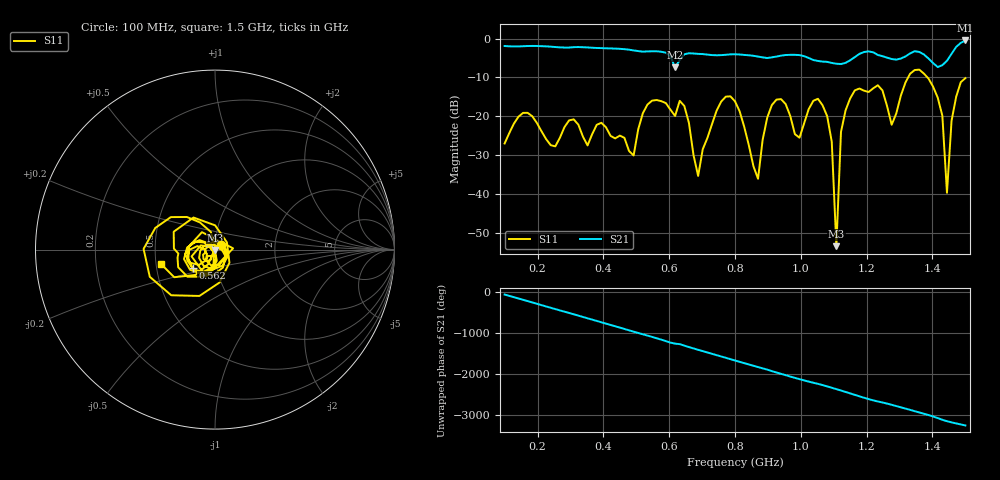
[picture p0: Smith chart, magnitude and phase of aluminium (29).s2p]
! NanoVNA-App
! Date: 2025-09-25 14:55:30
! Start: 100MHz Stop: 1,5GHz Points: 101
! S-Parameter data: F S11 S21 S12 S22
# Hz S RI R 50
!  Frequency  S11_Real  S11_Imag  S21_Real  S21_Imag  S12_Real  S12_Imag  S22_Real  S22_Imag
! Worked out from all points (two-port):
!   101 points, 100 MHz to 1.5 GHz, reference 50 ohm
!   highest |S21| = -0.49 dB at 1.5 GHz (marker M1); lowest = -7.4 dB at 618 MHz (marker M2)
!   |S21| within 3 dB of the highest: start of sweep to 581.1 MHz; 1.461 GHz to end of sweep (the widest 2 of 4)
!   lowest |S11| = -53.4 dB at 1.108 GHz (marker M3), VSWR 1.00, Z = 50 - j0.212 ohm
!   |S11| at or under -10 dB: start of sweep to 1.326 GHz; 1.385 GHz to end of sweep
!   S12 and S22 are empty: the file has one direction only
!   S11 on the Smith chart (normalised r, x): 100 MHz: 1.07, +0.06; 562 MHz: 0.76, -0.16; 1.5 GHz: 0.53, -0.10
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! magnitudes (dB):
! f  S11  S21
! 100 MHz  -27.0  -1.9
! 338 MHz  -25.2  -2.2
! 492 MHz  -30.1  -3.1
! 562 MHz  -15.8  -3.3
! 576 MHz  -16.1  -3.4
! 618 MHz  -19.9  -7.4
! 688 MHz  -35.4  -3.9
! 800 MHz  -16.2  -4.0
! 870 MHz  -36.1  -4.6
! 912 MHz  -17.1  -4.8
! 996 MHz  -25.5  -4.3
! 1.038 GHz  -16.0  -5.5
! 1.094 GHz  -26.6  -6.3
! 1.108 GHz  -53.4  -6.5
! 1.122 GHz  -24.0  -6.6
! 1.15 GHz  -15.4  -5.6
! 1.276 GHz  -22.2  -5.3
! 1.388 GHz  -10.3  -5.1
! 1.43 GHz  -19.9  -6.8
! 1.444 GHz  -39.7  -5.7
! 1.458 GHz  -21.1  -3.9
! 1.5 GHz  -10.2  -0.5
